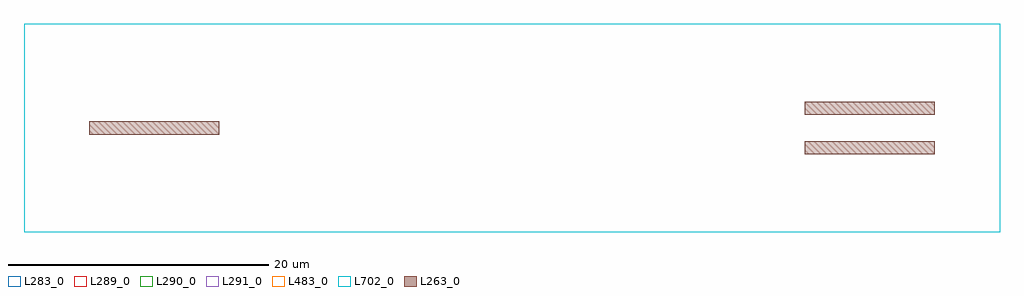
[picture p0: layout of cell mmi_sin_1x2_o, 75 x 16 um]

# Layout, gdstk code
import gdstk
lib = gdstk.Library(unit=1e-6, precision=1e-09)
def R(c, l, rs):  # rectangles x0, y0, x1, y1
    for r in rs: c.add(gdstk.rectangle(r[:2], r[2:], *l))
L263_0 = (263, 0)
L283_0 = (283, 0)
L289_0 = (289, 0)
L290_0 = (290, 0)
L291_0 = (291, 0)
L483_0 = (483, 0)
L702_0 = (702, 0)

mmi_sin_1x2_o = lib.new_cell('mmi_sin_1x2_o')
R(mmi_sin_1x2_o, L263_0, [(74.95,43.8,84.95,44.8), (19.95,45.3,29.95,46.3), (74.95,46.8,84.95,47.8)])
R(mmi_sin_1x2_o, L283_0, [(14.95,37.8,89.95,53.8)])
R(mmi_sin_1x2_o, L289_0, [(14.95,37.8,89.95,53.8)])
R(mmi_sin_1x2_o, L290_0, [(14.95,37.8,89.95,53.8)])
R(mmi_sin_1x2_o, L291_0, [(14.95,37.8,89.95,53.8)])
R(mmi_sin_1x2_o, L483_0, [(14.95,37.8,89.95,53.8)])
R(mmi_sin_1x2_o, L702_0, [(14.95,37.8,89.95,53.8)])

lib.write_gds('mmi_sin_1x2_o.gds')
